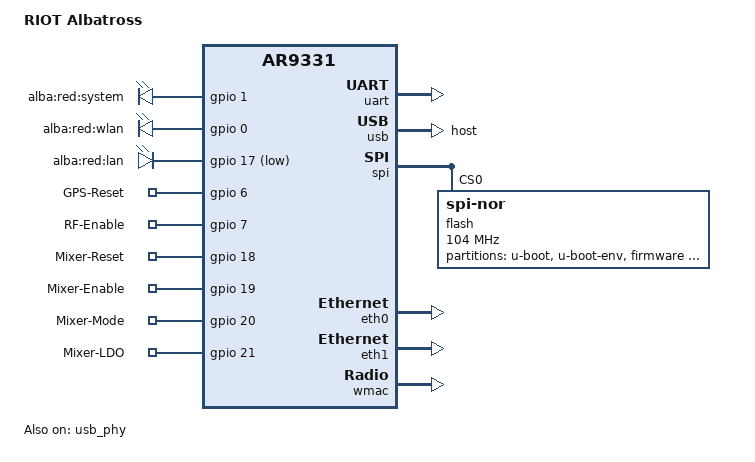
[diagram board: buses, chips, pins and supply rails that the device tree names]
// SPDX-License-Identifier: GPL-2.0
/dts-v1/;

#include <dt-bindings/gpio/gpio.h>
#include <dt-bindings/input/input.h>

#include "ar9331.dtsi"

/ {
	model = "RIOT Albatross";
	compatible = "riot,albatross", "qca,ar9331";

	aliases {
		serial0 = &uart;
		led-boot = &led_system;
		led-failsafe = &led_system;
		led-running = &led_system;
		led-upgrade = &led_system;
	};

	leds {
		compatible = "gpio-leds";
		pinctrl-names = "default";
		pinctrl-0 = <&switch_led_pins>;

		led_system: system {
			label = "alba:red:system";
			gpios = <&gpio 1 GPIO_ACTIVE_HIGH>;
			default-state = "on";
		};

 		wlan {
                         label = "alba:red:wlan";
                         gpios = <&gpio 0 GPIO_ACTIVE_HIGH>;
                         default-state = "off";
			 linux,default-trigger = "phy0tpt";
                };
 
            	lan {
                         label = "alba:red:lan";
                         gpios = <&gpio 17 GPIO_ACTIVE_LOW>;
                         default-state = "off";
                };
 
	};

	gpio-export {
 		compatible = "gpio-export";
		pinctrl-names = "default";
		pinctrl-0 = <&mdio_gpio &jtag_disable_pins &jumpstart_disable>;

		gpio_GPS_reset {
			gpio-export,name = "GPS-Reset";
			gpio-export,output = <1>; // init high
			gpio-export,direction_may_change;
			gpios = <&gpio 6 GPIO_ACTIVE_HIGH>;
			
		};
		gpio_rf_enable {
			gpio-export,name = "RF-Enable";
			gpio-export,output = <0>; // init low
			gpio-export,direction_may_change;
			gpios = <&gpio 7 GPIO_ACTIVE_HIGH>;
		};
		gpio_mixer_reset {
			gpio-export,name = "Mixer-Reset";
			gpio-export,output = <0>; // init low
			gpio-export,direction_may_change;
			gpios = <&gpio 18 GPIO_ACTIVE_HIGH>;
		};
		gpio_mixer_enable {
			gpio-export,name = "Mixer-Enable";
			gpio-export,output = <0>; // init low
			gpio-export,direction_may_change;
			gpios = <&gpio 19 GPIO_ACTIVE_HIGH>;
		};
		gpio_mixer_mode {
			gpio-export,name = "Mixer-Mode";
			gpio-export,output = <0>; // init low
			gpio-export,direction_may_change;
			gpios = <&gpio 20 GPIO_ACTIVE_HIGH>;
		};
		gpio_LDO_enable {
			gpio-export,name = "Mixer-LDO";
			gpio-export,output = <0>; // init low
			gpio-export,direction_may_change;
			gpios = <&gpio 21 GPIO_ACTIVE_HIGH>;
		};
	};

};

&ref {
	clock-frequency = <25000000>;
};

&uart {
	status = "okay";
};

&gpio {
	status = "okay";
};

&usb {
	dr_mode = "host";
	status = "okay";
};

&usb_phy {
	status = "okay";
};

&spi {
	num-chipselects = <1>;
	status = "okay";

	/* Winbond 25Q128FVSG SPI flash */
	flash@0 {
		compatible = "jedec,spi-nor";
		spi-max-frequency = <104000000>;
		reg = <0>;
		partitions {
                          compatible = "fixed-partitions";
                          #address-cells = <1>;
                          #size-cells = <1>;
  
                          partition@0 {
                                  label = "u-boot";
                                  reg = <0x000000 0x040000>;
                                  read-only;
                          };
  
                          partition@1 {
                                  label = "u-boot-env";
                                  reg = <0x040000 0x010000>;
                          };
  
                          partition@2 {
                                  label = "firmware";
                                  reg = <0x050000 0xfa0000>;
                          };
  
                          art: partition@3 {
                                  label = "ART";
                                  reg = <0xff0000 0x010000>;
                                  read-only;
                          };
                  };
	};
};


&eth0 {
	status = "okay";
	mtd-mac-address = <&art 0x1002>;
	mtd-mac-address-increment-byte = <4>;
	mtd-mac-address-increment = <(-1)>;
};

&eth1 {
	status = "okay";
	mtd-mac-address = <&art 0>;
	mtd-mac-address-increment = <1>;
};

&wmac {
	status = "okay";
	mtd-cal-data = <&art 0x1000>;
	mtd-mac-address = <&art 0x1002>;
};

&switch_led_pins{
	// disable switch controlled LEDs to use them as regular GPIO,  <offset value mask>;
	pinctrl-single,bits = <0x0 0x0 0xf8>;
};


